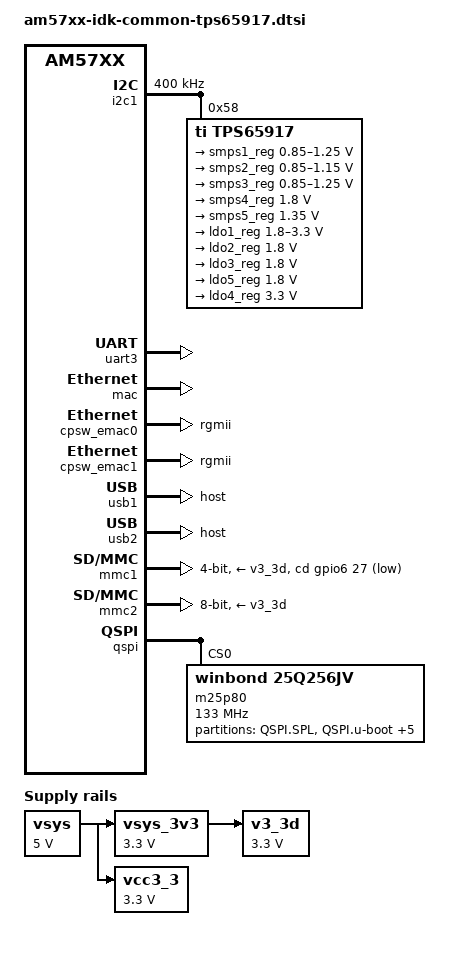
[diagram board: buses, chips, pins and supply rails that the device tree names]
/*
 * Copyright (C) 2015-2016 Texas Instruments Incorporated - http://www.ti.com/
 *
 * This program is free software; you can redistribute it and/or modify
 * it under the terms of the GNU General Public License version 2 as
 * published by the Free Software Foundation.
 */

#include "am57xx-industrial-grade.dtsi"

/ {

	chosen {
		stdout-path = &uart3;
	};

	vsys: fixedregulator-vsys {
		compatible = "regulator-fixed";
		regulator-name = "VSYS";
		regulator-min-microvolt = <5000000>;
		regulator-max-microvolt = <5000000>;
		regulator-always-on;
		regulator-boot-on;
	};

	vsys_3v3: fixedregulator-vsys_3v3 {
		/* TPS62132RGTR */
		compatible = "regulator-fixed";
		regulator-name = "VSYS_3V3";
		vin-supply = <&vsys>;
		regulator-min-microvolt = <3300000>;
		regulator-max-microvolt = <3300000>;
		regulator-always-on;
		regulator-boot-on;
	};

	v3_3d: fixedregulator-v3_3d {
		/* TPS22965DSG */
		compatible = "regulator-fixed";
		regulator-name = "V3_3D";
		vin-supply = <&vsys_3v3>;
		regulator-min-microvolt = <3300000>;
		regulator-max-microvolt = <3300000>;
		regulator-always-on;
		regulator-boot-on;
	};

	vcc3_3: fixedregulator-vcc3_3 {
		/* TPS22965DSG */
		compatible = "regulator-fixed";
		regulator-name = "VCC3_3";
		vin-supply = <&vsys>;
		regulator-min-microvolt = <3300000>;
		regulator-max-microvolt = <3300000>;
		regulator-always-on;
		regulator-boot-on;
	};
};

&i2c1 {
	status = "okay";
	clock-frequency = <400000>;

	tps65917: tps65917@58 {
		compatible = "ti,tps65917";
		reg = <0x58>;

		interrupt-controller;
		#interrupt-cells = <2>;
				
		ti,system-power-controller;
				
		tps65917_pmic {
			compatible = "ti,tps65917-pmic";

			tps65917_regulators: regulators {
				smps1_reg: smps1 {
					/* VDD_MPU */
					regulator-name = "smps1";
					regulator-min-microvolt = <850000>;
					regulator-max-microvolt = <1250000>;
					regulator-always-on;
					regulator-boot-on;
		   		};

				smps2_reg: smps2 {
					/* VDD_CORE */
					regulator-name = "smps2";
					regulator-min-microvolt = <850000>;
					regulator-max-microvolt = <1150000>;
					regulator-boot-on;
					regulator-always-on;
				};

				smps3_reg: smps3 {
					/* VDD_GPU IVA DSPEVE */
					regulator-name = "smps3";
					regulator-min-microvolt = <850000>;
					regulator-max-microvolt = <1250000>;
					regulator-boot-on;
					regulator-always-on;
		   		};

				smps4_reg: smps4 {
					/* VDDS1V8 */
					regulator-name = "smps4";
					regulator-min-microvolt = <1800000>;
					regulator-max-microvolt = <1800000>;
					regulator-always-on;
					regulator-boot-on;
				};

				smps5_reg: smps5 {
					/* VDD_DDR */
					regulator-name = "smps5";
					regulator-min-microvolt = <1350000>;
					regulator-max-microvolt = <1350000>;
					regulator-boot-on;
					regulator-always-on;
		   		};

				ldo1_reg: ldo1 {
					/* LDO1_OUT --> SDIO  */
					regulator-name = "ldo1";
					regulator-min-microvolt = <1800000>;
					regulator-max-microvolt = <3300000>;
					regulator-always-on;
					regulator-boot-on;
					regulator-allow-bypass;
		  		};

				ldo2_reg: ldo2 {
					/* VDDA_1V8_PHY */
					regulator-name = "ldo2";
					regulator-min-microvolt = <1800000>;
					regulator-max-microvolt = <1800000>;
					regulator-boot-on;
					regulator-always-on;
		  		};

				ldo3_reg: ldo3 {
					/* VDDA_1V8_PHY */
					regulator-name = "ldo3";
					regulator-min-microvolt = <1800000>;
					regulator-max-microvolt = <1800000>;
					regulator-boot-on;
					regulator-always-on;
		  		};

				ldo5_reg: ldo5 {
					/* VDDA_1V8_PLL */
					regulator-name = "ldo5";
					regulator-min-microvolt = <1800000>;
					regulator-max-microvolt = <1800000>;
					regulator-always-on;
					regulator-boot-on;
		  		};

				ldo4_reg: ldo4 {
					/* VDDA_3V_USB: VDDA_USBHS33 */
					regulator-name = "ldo4";
					regulator-min-microvolt = <3300000>;
					regulator-max-microvolt = <3300000>;
					regulator-boot-on;
		  		};
			};
		};

		tps65917_power_button {
			compatible = "ti,palmas-pwrbutton";
			interrupt-parent = <&tps65917>;
			interrupts = <1 IRQ_TYPE_NONE>;
			wakeup-source;
			ti,palmas-long-press-seconds = <6>;
		};
	};
};

&uart3 {
	status = "okay";
};

&mac {
	status = "okay";
	dual_emac;
};

&cpsw_emac0 {
	phy_id = <&davinci_mdio>, <2>;
	phy-mode = "rgmii";
	dual_emac_res_vlan = <1>;
};

&cpsw_emac1 {
	phy_id = <&davinci_mdio>, <1>;
	phy-mode = "rgmii";
	dual_emac_res_vlan = <2>;
};

&usb2_phy1 {
	phy-supply = <&ldo4_reg>;
};

&usb2_phy2 {
	phy-supply = <&ldo4_reg>;
};

&usb1 {
	dr_mode = "host";
};

&usb2 {
	dr_mode = "host";
};

&mmc1 {
	status = "okay";
	vmmc-supply = <&v3_3d>;
	vmmc_aux-supply = <&ldo1_reg>;
	bus-width = <4>;
	cd-gpios = <&gpio6 27 GPIO_ACTIVE_LOW>; /* gpio 219 */
	/delete-property/ sd-uhs-sdr104;
	/delete-property/ sd-uhs-sdr50;
	/delete-property/ sd-uhs-ddr50;
	/delete-property/ sd-uhs-sdr25;
	/delete-property/ sd-uhs-sdr12;
};

&mmc2 {
	status = "okay";
	vmmc-supply = <&v3_3d>;
	bus-width = <8>;
	ti,non-removable;
	max-frequency = <96000000>;
	no-1-8-v;
	/delete-property/ mmc-hs200-1_8v;
};

&qspi {
	status = "okay";

	spi-max-frequency = <133000000>;
	m25p80@0 {
		compatible = "winbond,25q256jv", "jedec,spi-nor";
		spi-max-frequency = <133000000>;
		reg = <0>;
		spi-tx-bus-width = <1>;
		spi-rx-bus-width = <4>;
		#address-cells = <1>;
		#size-cells = <1>;

		/* MTD partition table.
		 * The ROM checks the first four physical blocks
		 * for a valid file to boot and the flash here is
		 * 64KiB block size.
		 */
		partition@0 {
			label = "QSPI.SPL";
			reg = <0x00000000 0x000040000>;
		};
		partition@1 {
			label = "QSPI.u-boot";
			reg = <0x00040000 0x00100000>;
		};
		partition@2 {
			label = "QSPI.u-boot-spl-os";
			reg = <0x00140000 0x00080000>;
		};
		partition@3 {
			label = "QSPI.u-boot-env";
			reg = <0x001c0000 0x00010000>;
		};
		partition@4 {
			label = "QSPI.u-boot-env.backup1";
			reg = <0x001d0000 0x0010000>;
		};
		partition@5 {
			label = "QSPI.kernel";
			reg = <0x001e0000 0x0800000>;
		};
		partition@6 {
			label = "QSPI.file-system";
			reg = <0x009e0000 0x01620000>;
		};
	};
};
